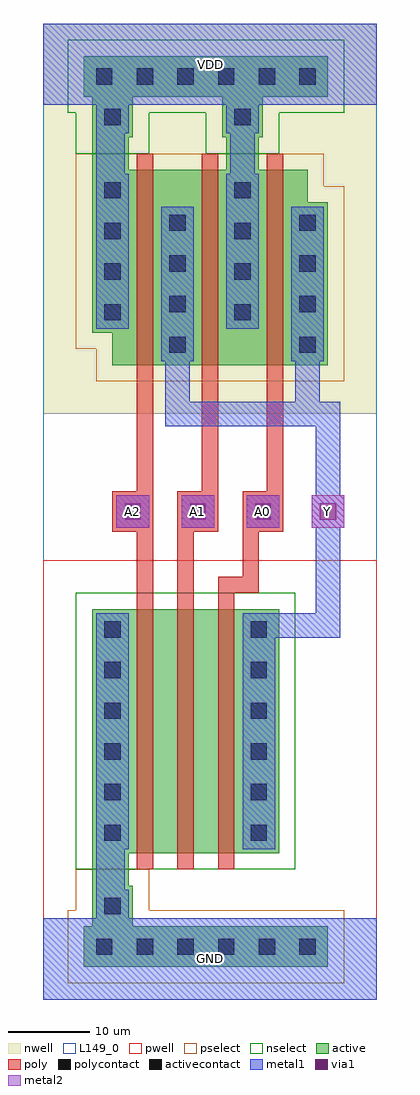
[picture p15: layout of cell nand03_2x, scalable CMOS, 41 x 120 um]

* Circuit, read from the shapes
.subckt nand03_2x A0 A1 A2 GND VDD Y
M1 n1 A2 GND GND nfet w=30u l=2u
M2 n2 A1 n1 GND nfet w=30u l=2u
M3 Y A0 n2 GND nfet w=30u l=2u
M4 Y A2 VDD VDD pfet w=24u l=2u
M5 VDD A1 Y VDD pfet w=24u l=2u
M6 Y A0 VDD VDD pfet w=24u l=2u
.ends

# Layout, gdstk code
from math import pi, radians
import gdstk
lib = gdstk.Library(unit=1e-6, precision=1e-09)
def R(c, l, rs):  # rectangles x0, y0, x1, y1
    for r in rs: c.add(gdstk.rectangle(r[:2], r[2:], *l))
def A(c, l, x, y, w, h, nx, ny, dx, dy):  # array of equal rectangles
    R(c, l, [(x+i*dx, y+j*dy, x+i*dx+w, y+j*dy+h) for i in range(nx) for j in range(ny)])
def P(c, l, *ps):  # polygons
    for p in ps: c.add(gdstk.Polygon(p, *l))
pwell = (41, 0)
nwell = (42, 0)
active = (43, 0)
pselect = (44, 0)
nselect = (45, 0)
poly = (46, 0)
polycontact = (47, 0)
activecontact = (48, 0)
metal1 = (49, 0)
via1 = (50, 0)
metal2 = (51, 0)
L149_0 = (149, 0)

via = lib.new_cell('via')
R(via, metal1, [(-2,-2,2,2)])
R(via, via1, [(-1,-1,1,1)])
R(via, metal2, [(-2,-2,2,2)])

nand03_2x = lib.new_cell('nand03_2x')
R(nand03_2x, pwell, [(0,0,41,54), (0,12,35,54)])
R(nand03_2x, nwell, [(0,72,41,120)])
P(nand03_2x, nwell, [(41,72),(41,104),(38.5,104),(38.5,108),(0,108),(0,76),(2.5,76),(2.5,72)])
R(nand03_2x, active, [(5,4,35,9), (6,9,11,14), (6,14,10.5,18), (6,18,29,48), (6,18,11.5,48), (23.5,18,29,48), (6,102,10.5,106), (22.5,102,26.5,106), (6,106,11,111), (22,106,27,111), (5,111,35,116)])
P(nand03_2x, active, [(11.5,78),(11.5,102),(6,102),(6,82),(8.5,82),(8.5,78)],
  [(35,78),(35,98),(32.5,98),(32.5,102),(6,102),(6,82),(8.5,82),(8.5,78)],
  [(35,78),(35,98),(32.5,98),(32.5,102),(29.5,102),(29.5,78)])
R(nand03_2x, pselect, [(3,2,37,11), (4,11,13,16)])
P(nand03_2x, pselect, [(37,76),(37,100),(34.5,100),(34.5,104),(4,104),(4,80),(6.5,80),(6.5,76)])
R(nand03_2x, nselect, [(4,16,31,50), (4,104,13,109), (20,104,29,109), (3,109,37,118)])
A(nand03_2x, poly, 11.5, 16, 2, 2, 3, 2, 5, 32)
A(nand03_2x, poly, 11.5, 18, 2, 30, 3, 1, 5, 0)
A(nand03_2x, poly, 8.5, 57.5, 5, 5, 3, 1, 8, 0)
A(nand03_2x, poly, 11.5, 76, 2, 2, 3, 2, 8, 26)
A(nand03_2x, poly, 11.5, 78, 2, 24, 3, 1, 8, 0)
A(nand03_2x, polycontact, 10, 59, 2, 2, 3, 1, 8, 0)
A(nand03_2x, activecontact, 6.5, 5.5, 2, 2, 6, 2, 5, 107)
A(nand03_2x, activecontact, 7.5, 19.5, 2, 2, 1, 6, 0, 5)
A(nand03_2x, activecontact, 25.5, 19.5, 2, 2, 1, 6, 0, 5)
A(nand03_2x, activecontact, 15.5, 79.5, 2, 2, 1, 4, 0, 5)
A(nand03_2x, activecontact, 31.5, 79.5, 2, 2, 1, 4, 0, 5)
A(nand03_2x, activecontact, 7.5, 83.5, 2, 2, 1, 4, 0, 5)
A(nand03_2x, activecontact, 23.5, 83.5, 2, 2, 1, 4, 0, 5)
R(nand03_2x, activecontact, [(7.5,10.5,9.5,12.5), (7.5,107.5,9.5,109.5), (23.5,107.5,25.5,109.5)])
A(nand03_2x, metal1, 9, 58, 4, 4, 3, 1, 8, 0)
R(nand03_2x, metal1, [(0,0,41,10), (6.5,10,10.5,13.5), (6.5,13.5,10,18.5), (6.5,18.5,10.5,47.5), (24.5,18.5,28.5,47.5), (14.5,78.5,18.5,97.5), (30.5,78.5,34.5,97.5), (6.5,82.5,10.5,101.5), (22.5,82.5,26.5,101.5), (6.5,101.5,10,106.5), (23,101.5,26,106.5), (6.5,106.5,10.5,110), (22.5,106.5,26.5,110), (0,110,41,120)])
A(nand03_2x, metal2, 9, 58, 4, 4, 4, 1, 8, 0)
R(nand03_2x, L149_0, [(0,0,41,120)])
nand03_2x.add(gdstk.FlexPath([(12.5,76),(12.5,50)], 2, ends="flush", simple_path=True, layer=46, datatype=0))  # poly
nand03_2x.add(gdstk.FlexPath([(17.5,50),(17.5,57.5)], 2, ends="flush", simple_path=True, layer=46, datatype=0))  # poly
nand03_2x.add(gdstk.FlexPath([(20.5,76),(20.5,62.5)], 2, ends="flush", simple_path=True, layer=46, datatype=0))  # poly
nand03_2x.add(gdstk.FlexPath([(21.5,51),(25.5,51),(25.5,57.5)], 2, ends="flush", simple_path=True, layer=46, datatype=0))  # poly
nand03_2x.add(gdstk.FlexPath([(28.5,76),(28.5,62.5)], 2, ends="flush", simple_path=True, layer=46, datatype=0))  # poly
nand03_2x.add(gdstk.FlexPath([(35,58),(35,46),(28.5,46)], 3, ends="flush", simple_path=True, layer=49, datatype=0))  # metal1
nand03_2x.add(gdstk.FlexPath([(35,62),(35,72),(16.5,72),(16.5,78.5)], 3, ends="flush", simple_path=True, layer=49, datatype=0))  # metal1
nand03_2x.add(gdstk.FlexPath([(32.5,78.5),(32.5,73.5)], 3, ends="flush", simple_path=True, layer=49, datatype=0))  # metal1
nand03_2x.add(gdstk.Reference(via, (19,60), rotation=pi, x_reflection=True))
nand03_2x.add(gdstk.Reference(via, (35,60), rotation=pi, x_reflection=True))
nand03_2x.add(gdstk.Reference(via, (27,60), rotation=pi, x_reflection=True))
nand03_2x.add(gdstk.Reference(via, (11,60), rotation=pi, x_reflection=True))
nand03_2x.add(gdstk.Label('Y', (35,60), layer=3, texttype=0))
nand03_2x.add(gdstk.Label('A0', (27,60), layer=3, texttype=0))
nand03_2x.add(gdstk.Label('A2', (11,60), layer=3, texttype=0))
nand03_2x.add(gdstk.Label('A1', (19,60), layer=3, texttype=0))
nand03_2x.add(gdstk.Label('GND', (20.5,5), layer=2, texttype=0))
nand03_2x.add(gdstk.Label('VDD', (20.5,115), layer=2, texttype=0))

lib.write_gds('nand03_2x.gds')
